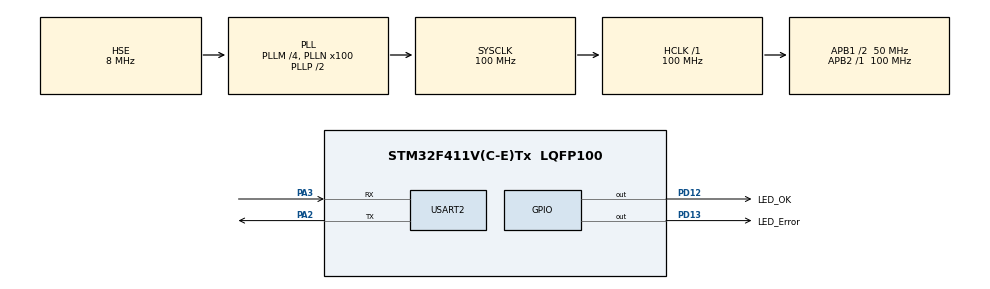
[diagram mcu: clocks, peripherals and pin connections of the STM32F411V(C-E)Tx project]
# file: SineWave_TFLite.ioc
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Mcu.Family=STM32F4
Mcu.Name=STM32F411V(C-E)Tx
Mcu.Package=LQFP100
NVIC.PriorityGroup=NVIC_PRIORITYGROUP_4
PA13.Mode=Serial_Wire
PA13.Signal=SYS_JTMS-SWDIO
PA14.Mode=Serial_Wire
PA14.Signal=SYS_JTCK-SWCLK
PA2.Mode=Asynchronous
PA2.Signal=USART2_TX
PA3.Mode=Asynchronous
PA3.Signal=USART2_RX
PD12.GPIO_Label=LED_OK
PD12.Signal=GPIO_Output
PD13.GPIO_Label=LED_Error
PD13.Signal=GPIO_Output
PH0\ -\ OSC_IN.Mode=HSE-External-Oscillator
PH0\ -\ OSC_IN.Signal=RCC_OSC_IN
PH1\ -\ OSC_OUT.Mode=HSE-External-Oscillator
PH1\ -\ OSC_OUT.Signal=RCC_OSC_OUT
ProjectManager.HeapSize=0x200
ProjectManager.StackSize=0x400
ProjectManager.TargetToolchain=STM32CubeIDE
RCC.48MHZClocksFreq_Value=50000000
RCC.AHBFreq_Value=100000000
RCC.APB1CLKDivider=RCC_HCLK_DIV2
RCC.APB1Freq_Value=50000000
RCC.APB1TimFreq_Value=100000000
RCC.APB2Freq_Value=100000000
RCC.APB2TimFreq_Value=100000000
RCC.CortexFreq_Value=100000000
RCC.HCLKFreq_Value=100000000
RCC.HSE_VALUE=8000000
RCC.HSI_VALUE=16000000
RCC.LSE_VALUE=32768
RCC.PLLM=4
RCC.PLLN=100
RCC.PLLSourceVirtual=RCC_PLLSOURCE_HSE
RCC.SYSCLKFreq_VALUE=100000000
RCC.SYSCLKSource=RCC_SYSCLKSOURCE_PLLCLK
RCC.VCOOutputFreq_Value=200000000
TIM11.Period=65536 - 1
TIM11.Prescaler=80 - 1
USART2.VirtualMode=VM_ASYNC
VP_TIM11_VS_ClockSourceINT.Mode=Enable_Timer
board=custom

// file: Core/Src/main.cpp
/* USER CODE BEGIN Header */
/**
  ******************************************************************************
  * @file           : main.c
  * @brief          : Main program body
  ******************************************************************************
  * @attention
  *
  * Copyright (c) 2025 STMicroelectronics.
  * All rights reserved.
  *
  * This software is licensed under terms that can be found in the LICENSE file
  * in the root directory of this software component.
  * If no LICENSE file comes with this software, it is provided AS-IS.
  *
  ******************************************************************************
  */
/* USER CODE END Header */
#include "main.h"

/* USER CODE BEGIN Includes */
#include "stdio.h"

#include "tensorflow/lite/micro/kernels/micro_ops.h"
#include "tensorflow/lite/micro/tflite_bridge/micro_error_reporter.h"
#include "tensorflow/lite/micro/micro_interpreter.h"
#include "tensorflow/lite/micro/micro_mutable_op_resolver.h"
#include "tensorflow/lite/schema/schema_generated.h"
#include "sine_model.h"

/* USER CODE END Includes */

TIM_HandleTypeDef htim11;

UART_HandleTypeDef huart2;

/* USER CODE BEGIN PV */
// <---- -------- TFLite variables -------- ---->
namespace
{
	tflite::MicroErrorReporter micro_error_reporter;
	tflite::ErrorReporter* error_reporter = &micro_error_reporter;
	const tflite::Model* model 		  	  = nullptr;
	tflite::MicroInterpreter* interpreter = nullptr;
	TfLiteTensor* model_input			  = nullptr;
	TfLiteTensor* model_output			  = nullptr;

	// <---- -------- Create an area of memory to use for input/output and other tensorflow arrays.
	// you will need to adjust this by compiling, running, and looking for errors  -------- ---->
	const int KTensorArenaSize = 2 * 1024;
	uint8_t tensor_arena[KTensorArenaSize];
}
/* USER CODE END PV */

void SystemClock_Config(void);
static void MX_GPIO_Init(void);
static void MX_TIM11_Init(void);
static void MX_USART2_UART_Init(void);

/* USER CODE BEGIN 0 */
int _write(int file, char *ptr, int len)
{
	int i = 0;
	for(i = 0; i < len; i++)
	{
		ITM_SendChar(*ptr++);
	}
	return len;
}

char buf[50];
int buf_len = 0;
TfLiteStatus tflite_status;
uint32_t num_elements;
uint32_t timestamp;
float y_val;
/* USER CODE END 0 */

int main(void)
{

  /* MCU Configuration--------------------------------------------------------*/

  /* Reset of all peripherals, Initializes the Flash interface and the Systick. */
  HAL_Init();

  /* Configure the system clock */
  SystemClock_Config();

  /* Initialize all configured peripherals */
  MX_GPIO_Init();
  MX_TIM11_Init();
  MX_USART2_UART_Init();
  /* USER CODE BEGIN 2 */
  HAL_TIM_Base_Start(&htim11);

  error_reporter->Report("STM32 TFLite Test.");

  buf_len = sprintf(buf, "STM32 TFLite Test.");
  HAL_UART_Transmit(&huart2, (uint8_t *)buf, buf_len, 100);

  model = tflite::GetModel(sine_model);
  if(model->version() != TFLITE_SCHEMA_VERSION)
  {
	  error_reporter->Report("Model version does not match schema.");

	  buf_len = sprintf(buf, "Model version does not match schema.");
	  HAL_UART_Transmit(&huart2, (uint8_t *)buf, buf_len, 100);

	  while(1);
  }

  // <---- -------- Pull in only needed operations (should match with your NN layers).
  // Template parameter (<n>) is number of ops to be added.
  // Available ops: tensorflow/lite/micro/kernels/micro_ops.h -------- ---->
  static tflite::MicroMutableOpResolver<1> micro_op_resolver;

  // <---- -------- Add dense NN layer operation -------- ---->
  tflite_status = micro_op_resolver.AddFullyConnected();
  if(tflite_status != kTfLiteOk)
  {
	  error_reporter->Report("Couldn't add fully connected op.");

	  buf_len = sprintf(buf, "Couldn't add fully connected op.");
	  HAL_UART_Transmit(&huart2, (uint8_t *)buf, buf_len, 100);

	  while(1);
  }

  // <---- -------- build an interpreter to run the model -------- ---->
  static tflite::MicroInterpreter static_interpreter(model, micro_op_resolver, tensor_arena, KTensorArenaSize);
  interpreter = &static_interpreter;

  // <---- -------- Allocate memory from the tensor_arena for the model's tensors. -------- ---->
  tflite_status = interpreter->AllocateTensors();
  if(tflite_status != kTfLiteOk)
  {
	  error_reporter->Report("AllocateTensors failed.");

	  buf_len = sprintf(buf, "AllocateTensors failed.");
	  HAL_UART_Transmit(&huart2, (uint8_t *)buf, buf_len, 100);

	  while(1);
  }

  // <---- -------- Allocate model input/output buffers(tensors) to pointers -------- ---->
  model_input  = interpreter->input(0);
  model_output = interpreter->output(0);

  // <---- -------- Get number of elements in input tensor -------- ---->
  num_elements = model_input->bytes / sizeof(float);
  buf_len = sprintf(buf, "Number of input elements: %lu\r\n", num_elements);
  HAL_UART_Transmit(&huart2, (uint8_t *)buf, buf_len, 100);
  /* USER CODE END 2 */

  /* Infinite loop */
  while (1)
  {

    /* USER CODE BEGIN 3 */
	  // <---- -------- Fill input buffer (use test value) -------- ---->
	  for(uint32_t i = 0; i < num_elements; i++)
	  {
		  model_input->data.f[i] = 2.0f;
	  }

	  // <---- -------- Get current timestamp -------- ---->
	  timestamp = htim11.Instance->CNT;

	  // <---- -------- Run inference -------- ---->
	  tflite_status = interpreter->Invoke();
	  if(tflite_status != kTfLiteOk)
	  {
		  error_reporter->Report("Invoke failed.");

		  buf_len = sprintf(buf, "Invoke failed.");
		  HAL_UART_Transmit(&huart2, (uint8_t *)buf, buf_len, 100);
	  }

	  // <---- -------- Read output (predict y) of neural network -------- ---->
	  y_val = model_output->data.f[0];

	  buf_len = sprintf(buf, "Output: %f | Duration: %lu\r\n", y_val, (htim11.Instance->CNT - timestamp));
	  HAL_UART_Transmit(&huart2, (uint8_t *)buf, buf_len, 100);
	  HAL_Delay(500);

	  HAL_GPIO_TogglePin(LED_OK_GPIO_Port, LED_OK_Pin);
  }
  /* USER CODE END 3 */
}

void SystemClock_Config(void)
{
  RCC_OscInitTypeDef RCC_OscInitStruct = {0};
  RCC_ClkInitTypeDef RCC_ClkInitStruct = {0};

  /** Configure the main internal regulator output voltage
  */
  __HAL_RCC_PWR_CLK_ENABLE();
  __HAL_PWR_VOLTAGESCALING_CONFIG(PWR_REGULATOR_VOLTAGE_SCALE1);

  /** Initializes the RCC Oscillators according to the specified parameters
  * in the RCC_OscInitTypeDef structure.
  */
  RCC_OscInitStruct.OscillatorType = RCC_OSCILLATORTYPE_HSE;
  RCC_OscInitStruct.HSEState = RCC_HSE_ON;
  RCC_OscInitStruct.PLL.PLLState = RCC_PLL_ON;
  RCC_OscInitStruct.PLL.PLLSource = RCC_PLLSOURCE_HSE;
  RCC_OscInitStruct.PLL.PLLM = 4;
  RCC_OscInitStruct.PLL.PLLN = 100;
  RCC_OscInitStruct.PLL.PLLP = RCC_PLLP_DIV2;
  RCC_OscInitStruct.PLL.PLLQ = 4;
  if (HAL_RCC_OscConfig(&RCC_OscInitStruct) != HAL_OK)
  {
    Error_Handler();
  }

  /** Initializes the CPU, AHB and APB buses clocks
  */
  RCC_ClkInitStruct.ClockType = RCC_CLOCKTYPE_HCLK|RCC_CLOCKTYPE_SYSCLK
                              |RCC_CLOCKTYPE_PCLK1|RCC_CLOCKTYPE_PCLK2;
  RCC_ClkInitStruct.SYSCLKSource = RCC_SYSCLKSOURCE_PLLCLK;
  RCC_ClkInitStruct.AHBCLKDivider = RCC_SYSCLK_DIV1;
  RCC_ClkInitStruct.APB1CLKDivider = RCC_HCLK_DIV2;
  RCC_ClkInitStruct.APB2CLKDivider = RCC_HCLK_DIV1;

  if (HAL_RCC_ClockConfig(&RCC_ClkInitStruct, FLASH_LATENCY_3) != HAL_OK)
  {
    Error_Handler();
  }
}

static void MX_TIM11_Init(void)
{

  htim11.Instance = TIM11;
  htim11.Init.Prescaler = 80 - 1;
  htim11.Init.CounterMode = TIM_COUNTERMODE_UP;
  htim11.Init.Period = 65536 - 1;
  htim11.Init.ClockDivision = TIM_CLOCKDIVISION_DIV1;
  htim11.Init.AutoReloadPreload = TIM_AUTORELOAD_PRELOAD_DISABLE;
  if (HAL_TIM_Base_Init(&htim11) != HAL_OK)
  {
    Error_Handler();
  }

}

static void MX_USART2_UART_Init(void)
{

  huart2.Instance = USART2;
  huart2.Init.BaudRate = 115200;
  huart2.Init.WordLength = UART_WORDLENGTH_8B;
  huart2.Init.StopBits = UART_STOPBITS_1;
  huart2.Init.Parity = UART_PARITY_NONE;
  huart2.Init.Mode = UART_MODE_TX_RX;
  huart2.Init.HwFlowCtl = UART_HWCONTROL_NONE;
  huart2.Init.OverSampling = UART_OVERSAMPLING_16;
  if (HAL_UART_Init(&huart2) != HAL_OK)
  {
    Error_Handler();
  }

}

static void MX_GPIO_Init(void)
{
  GPIO_InitTypeDef GPIO_InitStruct = {0};

  /* GPIO Ports Clock Enable */
  __HAL_RCC_GPIOH_CLK_ENABLE();
  __HAL_RCC_GPIOA_CLK_ENABLE();
  __HAL_RCC_GPIOD_CLK_ENABLE();

  /*Configure GPIO pin Output Level */
  HAL_GPIO_WritePin(GPIOD, LED_OK_Pin|LED_Error_Pin, GPIO_PIN_RESET);

  /*Configure GPIO pins : LED_OK_Pin LED_Error_Pin */
  GPIO_InitStruct.Pin = LED_OK_Pin|LED_Error_Pin;
  GPIO_InitStruct.Mode = GPIO_MODE_OUTPUT_PP;
  GPIO_InitStruct.Pull = GPIO_NOPULL;
  GPIO_InitStruct.Speed = GPIO_SPEED_FREQ_LOW;
  HAL_GPIO_Init(GPIOD, &GPIO_InitStruct);

}

void Error_Handler(void)
{
  __disable_irq();
  while (1)
  {
  }
}
